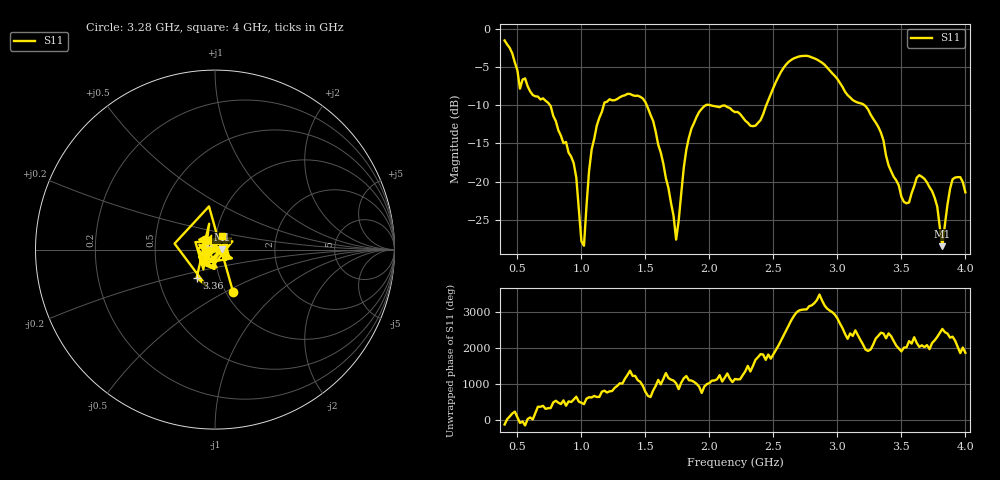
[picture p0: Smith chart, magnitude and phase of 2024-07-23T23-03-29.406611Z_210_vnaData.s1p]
!Created with skrf (http://scikit-rf.org).
# Hz S RI R 50.0
!freq ReS11 ImS11
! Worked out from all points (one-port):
!   181 points, 400 MHz to 4 GHz, reference 50 ohm
!   lowest |S11| = -28.4 dB at 3.82 GHz (marker M1), VSWR 1.08, Z = 53.9 + j0.179 ohm
!   |S11| at or under -10 dB: 1.51 GHz to 1.973 GHz (462.4 MHz wide, 26.5 % of centre); 2.009 GHz to 2.444 GHz (435.4 MHz wide, 19.6 % of centre); 3.211 GHz to end of sweep (the widest 3 of 4)
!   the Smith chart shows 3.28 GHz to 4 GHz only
!   S11 on the Smith chart (normalised r, x): 3.28 GHz: 1.08, -0.55; 3.36 GHz: 0.78, -0.25; 4 GHz: 1.07, +0.16
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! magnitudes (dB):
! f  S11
! 400 MHz  -1.5
! 520 MHz  -7.8
! 740 MHz  -9.7
! 860 MHz  -15.0
! 940 MHz  -17.6
! 1 GHz  -27.8
! 1.02 GHz  -28.4
! 1.06 GHz  -18.6
! 1.12 GHz  -12.7
! 1.3 GHz  -9.0
! 1.5 GHz  -9.6
! 1.64 GHz  -17.6
! 1.74 GHz  -27.6
! 1.76 GHz  -25.1
! 1.82 GHz  -15.8
! 1.9 GHz  -11.5
! 2.2 GHz  -10.9
! 2.36 GHz  -12.7
! 2.66 GHz  -3.9
! 3.1 GHz  -9.0
! 3.28 GHz  -11.8
! 3.36 GHz  -14.6
! 3.56 GHz  -22.7
! 3.68 GHz  -19.6
! 3.78 GHz  -23.3
! 3.82 GHz  -28.4
! 3.9 GHz  -19.7
! 4 GHz  -21.4
